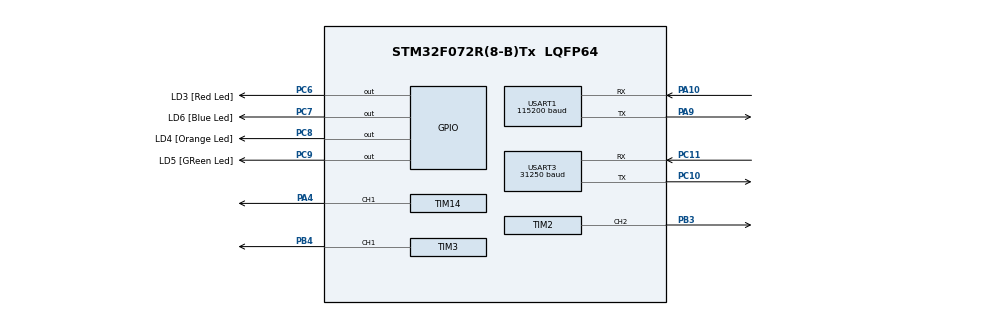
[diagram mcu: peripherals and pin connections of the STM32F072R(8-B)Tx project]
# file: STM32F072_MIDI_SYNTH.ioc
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FREERTOS.Queues01=uartMidiQueue,3,MIDI_UART_RxBuffer_t,0,Static,uartMidiQueueBuffer,uartMidiQueueControlBlock
FREERTOS.Tasks01=defaultTask,24,128,StartDefaultTask,Default,NULL,Dynamic,NULL,NULL;uartMidiTask,24,512,StartUartMidiTask,As external,NULL,Static,uartMidiTaskBuffer,uartMidiTaskControlBlock
Mcu.Family=STM32F0
Mcu.Name=STM32F072R(8-B)Tx
Mcu.Package=LQFP64
NVIC.TIM15_IRQn=true\:3\:0\:false\:false\:true\:false\:false\:true\:true
NVIC.TimeBase=TIM15_IRQn
NVIC.TimeBaseIP=TIM15
NVIC.USART3_4_IRQn=true\:3\:0\:false\:false\:true\:true\:true\:true\:true
PA10.Mode=Asynchronous
PA10.Signal=USART1_RX
PA13.Mode=Serial_Wire
PA13.Signal=SYS_SWDIO
PA14.Mode=Serial_Wire
PA14.Signal=SYS_SWCLK
PA4.GPIO_Speed=GPIO_SPEED_FREQ_HIGH
PA4.Signal=S_TIM14_CH1
PA9.Mode=Asynchronous
PA9.Signal=USART1_TX
PB3.GPIO_Speed=GPIO_SPEED_FREQ_HIGH
PB3.Signal=S_TIM2_CH2
PB4.GPIO_Speed=GPIO_SPEED_FREQ_HIGH
PB4.Signal=S_TIM3_CH1
PC10.Mode=Asynchronous
PC10.Signal=USART3_TX
PC11.Mode=Asynchronous
PC11.Signal=USART3_RX
PC6.GPIO_Label=LD3 [Red Led]
PC6.Signal=GPIO_Output
PC7.GPIO_Label=LD6 [Blue Led]
PC7.Signal=GPIO_Output
PC8.GPIO_Label=LD4 [Orange Led]
PC8.Signal=GPIO_Output
PC9.GPIO_Label=LD5 [GReen Led]
PC9.Signal=GPIO_Output
PF0-OSC_IN.Mode=HSE-External-Oscillator
PF0-OSC_IN.Signal=RCC_OSC_IN
PF1-OSC_OUT.Mode=HSE-External-Oscillator
PF1-OSC_OUT.Signal=RCC_OSC_OUT
ProjectManager.HeapSize=0x200
ProjectManager.StackSize=0x400
ProjectManager.TargetToolchain=STM32CubeIDE
RCC.AHBFreq_Value=48000000
RCC.APB1Freq_Value=48000000
RCC.APB1TimFreq_Value=48000000
RCC.HCLKFreq_Value=48000000
RCC.PLLMUL=RCC_PLL_MUL6
RCC.SYSCLKFreq_VALUE=48000000
RCC.SYSCLKSource=RCC_SYSCLKSOURCE_PLLCLK
SH.S_TIM14_CH1.0=TIM14_CH1,PWM Generation1 CH1
SH.S_TIM2_CH2.0=TIM2_CH2,PWM Generation2 CH2
SH.S_TIM3_CH1.0=TIM3_CH1,PWM Generation1 CH1
TIM14.Channel=TIM_CHANNEL_1
TIM14.Period=299
TIM14.Prescaler=159
TIM14.Pulse=149
TIM2.Channel-PWM\ Generation2\ CH2=TIM_CHANNEL_2
TIM2.Period=299
TIM2.Prescaler=159
TIM2.Pulse-PWM\ Generation2\ CH2=149
TIM3.Channel-PWM\ Generation1\ CH1=TIM_CHANNEL_1
TIM3.Period=299
TIM3.Prescaler=159
TIM3.Pulse-PWM\ Generation1\ CH1=149
USART1.BaudRate=115200
USART1.VirtualMode-Asynchronous=VM_ASYNC
USART3.BaudRate=31250
USART3.VirtualMode-Asynchronous=VM_ASYNC
VP_FREERTOS_VS_CMSIS_V2.Mode=CMSIS_V2
VP_SYS_VS_tim15.Mode=TIM15
VP_TIM14_VS_ClockSourceINT.Mode=Enable_Timer
VP_TIM2_VS_ClockSourceINT.Mode=Internal
VP_TIM3_VS_ClockSourceINT.Mode=Internal
board=STM32F072B-DISCO

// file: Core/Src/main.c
/* USER CODE BEGIN Header */
/**
  ******************************************************************************
  * @file           : main.c
  * @brief          : Main program body
  ******************************************************************************
  * @attention
  *
  * Copyright (c) 2023 STMicroelectronics.
  * All rights reserved.
  *
  * This software is licensed under terms that can be found in the LICENSE file
  * in the root directory of this software component.
  * If no LICENSE file comes with this software, it is provided AS-IS.
  *
  ******************************************************************************
  */
/* USER CODE END Header */
#include "main.h"
#include "cmsis_os.h"

/* USER CODE BEGIN Includes */
#include "string.h"
#include "usart3.h"
/* USER CODE END Includes */

typedef StaticTask_t osStaticThreadDef_t;
typedef StaticQueue_t osStaticMessageQDef_t;

/* Definitions for defaultTask */
osThreadId_t defaultTaskHandle;
const osThreadAttr_t defaultTask_attributes = {
  .name = "defaultTask",
  .stack_size = 128 * 4,
  .priority = (osPriority_t) osPriorityNormal,
};
/* Definitions for uartMidiTask */
osThreadId_t uartMidiTaskHandle;
uint32_t uartMidiTaskBuffer[ 512 ];
osStaticThreadDef_t uartMidiTaskControlBlock;
const osThreadAttr_t uartMidiTask_attributes = {
  .name = "uartMidiTask",
  .cb_mem = &uartMidiTaskControlBlock,
  .cb_size = sizeof(uartMidiTaskControlBlock),
  .stack_mem = &uartMidiTaskBuffer[0],
  .stack_size = sizeof(uartMidiTaskBuffer),
  .priority = (osPriority_t) osPriorityNormal,
};
/* Definitions for uartMidiQueue */
osMessageQueueId_t uartMidiQueueHandle;
uint8_t uartMidiQueueBuffer[ 3 * sizeof( MIDI_UART_RxBuffer_t ) ];
osStaticMessageQDef_t uartMidiQueueControlBlock;
const osMessageQueueAttr_t uartMidiQueue_attributes = {
  .name = "uartMidiQueue",
  .cb_mem = &uartMidiQueueControlBlock,
  .cb_size = sizeof(uartMidiQueueControlBlock),
  .mq_mem = &uartMidiQueueBuffer,
  .mq_size = sizeof(uartMidiQueueBuffer)
};
/* USER CODE BEGIN PV */
uint32_t sysTickCounter = 0;
/* USER CODE END PV */

void SystemClock_Config(void);
static void MX_GPIO_Init(void);
static void MX_TIM2_Init(void);
static void MX_TIM3_Init(void);
static void MX_TIM14_Init(void);
static void MX_USART1_UART_Init(void);
static void MX_USART3_UART_Init(void);
void StartDefaultTask(void *argument);
extern void StartUartMidiTask(void *argument);

/* USER CODE BEGIN PFP */
void delay(uint32_t delayMs);
void print(char* msg);
/* USER CODE END PFP */

int main(void)
{

  /* MCU Configuration--------------------------------------------------------*/

  /* Reset of all peripherals, Initializes the Flash interface and the Systick. */
  HAL_Init();

  /* Configure the system clock */
  SystemClock_Config();

  /* Initialize all configured peripherals */
  MX_GPIO_Init();
  MX_TIM2_Init();
  MX_TIM3_Init();
  MX_TIM14_Init();
  MX_USART1_UART_Init();
  MX_USART3_UART_Init();

  /* Init scheduler */
  osKernelInitialize();

  /* Create the queue(s) */
  /* creation of uartMidiQueue */
  uartMidiQueueHandle = osMessageQueueNew (3, sizeof(MIDI_UART_RxBuffer_t), &uartMidiQueue_attributes);

  /* Create the thread(s) */
  /* creation of defaultTask */
  defaultTaskHandle = osThreadNew(StartDefaultTask, NULL, &defaultTask_attributes);

  /* creation of uartMidiTask */
  uartMidiTaskHandle = osThreadNew(StartUartMidiTask, NULL, &uartMidiTask_attributes);

  /* Start scheduler */
  osKernelStart();
  /* We should never get here as control is now taken by the scheduler */
  /* Infinite loop */
  while (1)
  {

  }
}

void SystemClock_Config(void)
{
  LL_FLASH_SetLatency(LL_FLASH_LATENCY_1);
  while(LL_FLASH_GetLatency() != LL_FLASH_LATENCY_1)
  {
  }
  LL_RCC_HSI_Enable();

   /* Wait till HSI is ready */
  while(LL_RCC_HSI_IsReady() != 1)
  {

  }
  LL_RCC_HSI_SetCalibTrimming(16);
  LL_RCC_PLL_ConfigDomain_SYS(LL_RCC_PLLSOURCE_HSI, LL_RCC_PLL_MUL_6, LL_RCC_PREDIV_DIV_1);
  LL_RCC_PLL_Enable();

   /* Wait till PLL is ready */
  while(LL_RCC_PLL_IsReady() != 1)
  {

  }
  LL_RCC_SetAHBPrescaler(LL_RCC_SYSCLK_DIV_1);
  LL_RCC_SetAPB1Prescaler(LL_RCC_APB1_DIV_1);
  LL_RCC_SetSysClkSource(LL_RCC_SYS_CLKSOURCE_PLL);

   /* Wait till System clock is ready */
  while(LL_RCC_GetSysClkSource() != LL_RCC_SYS_CLKSOURCE_STATUS_PLL)
  {

  }
  LL_SetSystemCoreClock(48000000);

   /* Update the time base */
  if (HAL_InitTick (TICK_INT_PRIORITY) != HAL_OK)
  {
    Error_Handler();
  }
  LL_RCC_SetUSARTClockSource(LL_RCC_USART1_CLKSOURCE_PCLK1);
}

static void MX_TIM2_Init(void)
{

  LL_TIM_InitTypeDef TIM_InitStruct = {0};
  LL_TIM_OC_InitTypeDef TIM_OC_InitStruct = {0};

  LL_GPIO_InitTypeDef GPIO_InitStruct = {0};

  /* Peripheral clock enable */
  LL_APB1_GRP1_EnableClock(LL_APB1_GRP1_PERIPH_TIM2);

  TIM_InitStruct.Prescaler = 159;
  TIM_InitStruct.CounterMode = LL_TIM_COUNTERMODE_UP;
  TIM_InitStruct.Autoreload = 299;
  TIM_InitStruct.ClockDivision = LL_TIM_CLOCKDIVISION_DIV1;
  LL_TIM_Init(TIM2, &TIM_InitStruct);
  LL_TIM_DisableARRPreload(TIM2);
  LL_TIM_SetClockSource(TIM2, LL_TIM_CLOCKSOURCE_INTERNAL);
  LL_TIM_OC_EnablePreload(TIM2, LL_TIM_CHANNEL_CH2);
  TIM_OC_InitStruct.OCMode = LL_TIM_OCMODE_PWM1;
  TIM_OC_InitStruct.OCState = LL_TIM_OCSTATE_DISABLE;
  TIM_OC_InitStruct.OCNState = LL_TIM_OCSTATE_DISABLE;
  TIM_OC_InitStruct.CompareValue = 149;
  TIM_OC_InitStruct.OCPolarity = LL_TIM_OCPOLARITY_HIGH;
  LL_TIM_OC_Init(TIM2, LL_TIM_CHANNEL_CH2, &TIM_OC_InitStruct);
  LL_TIM_OC_DisableFast(TIM2, LL_TIM_CHANNEL_CH2);
  LL_TIM_SetTriggerOutput(TIM2, LL_TIM_TRGO_RESET);
  LL_TIM_DisableMasterSlaveMode(TIM2);
  LL_AHB1_GRP1_EnableClock(LL_AHB1_GRP1_PERIPH_GPIOB);
  /**TIM2 GPIO Configuration
  PB3   ------> TIM2_CH2
  */
  GPIO_InitStruct.Pin = LL_GPIO_PIN_3;
  GPIO_InitStruct.Mode = LL_GPIO_MODE_ALTERNATE;
  GPIO_InitStruct.Speed = LL_GPIO_SPEED_FREQ_HIGH;
  GPIO_InitStruct.OutputType = LL_GPIO_OUTPUT_PUSHPULL;
  GPIO_InitStruct.Pull = LL_GPIO_PULL_NO;
  GPIO_InitStruct.Alternate = LL_GPIO_AF_2;
  LL_GPIO_Init(GPIOB, &GPIO_InitStruct);

}

static void MX_TIM3_Init(void)
{

  LL_TIM_InitTypeDef TIM_InitStruct = {0};
  LL_TIM_OC_InitTypeDef TIM_OC_InitStruct = {0};

  LL_GPIO_InitTypeDef GPIO_InitStruct = {0};

  /* Peripheral clock enable */
  LL_APB1_GRP1_EnableClock(LL_APB1_GRP1_PERIPH_TIM3);

  TIM_InitStruct.Prescaler = 159;
  TIM_InitStruct.CounterMode = LL_TIM_COUNTERMODE_UP;
  TIM_InitStruct.Autoreload = 299;
  TIM_InitStruct.ClockDivision = LL_TIM_CLOCKDIVISION_DIV1;
  LL_TIM_Init(TIM3, &TIM_InitStruct);
  LL_TIM_DisableARRPreload(TIM3);
  LL_TIM_SetClockSource(TIM3, LL_TIM_CLOCKSOURCE_INTERNAL);
  LL_TIM_OC_EnablePreload(TIM3, LL_TIM_CHANNEL_CH1);
  TIM_OC_InitStruct.OCMode = LL_TIM_OCMODE_PWM1;
  TIM_OC_InitStruct.OCState = LL_TIM_OCSTATE_DISABLE;
  TIM_OC_InitStruct.OCNState = LL_TIM_OCSTATE_DISABLE;
  TIM_OC_InitStruct.CompareValue = 149;
  TIM_OC_InitStruct.OCPolarity = LL_TIM_OCPOLARITY_HIGH;
  LL_TIM_OC_Init(TIM3, LL_TIM_CHANNEL_CH1, &TIM_OC_InitStruct);
  LL_TIM_OC_DisableFast(TIM3, LL_TIM_CHANNEL_CH1);
  LL_TIM_SetTriggerOutput(TIM3, LL_TIM_TRGO_RESET);
  LL_TIM_DisableMasterSlaveMode(TIM3);
  LL_AHB1_GRP1_EnableClock(LL_AHB1_GRP1_PERIPH_GPIOB);
  /**TIM3 GPIO Configuration
  PB4   ------> TIM3_CH1
  */
  GPIO_InitStruct.Pin = LL_GPIO_PIN_4;
  GPIO_InitStruct.Mode = LL_GPIO_MODE_ALTERNATE;
  GPIO_InitStruct.Speed = LL_GPIO_SPEED_FREQ_HIGH;
  GPIO_InitStruct.OutputType = LL_GPIO_OUTPUT_PUSHPULL;
  GPIO_InitStruct.Pull = LL_GPIO_PULL_NO;
  GPIO_InitStruct.Alternate = LL_GPIO_AF_1;
  LL_GPIO_Init(GPIOB, &GPIO_InitStruct);

}

static void MX_TIM14_Init(void)
{

  LL_TIM_InitTypeDef TIM_InitStruct = {0};
  LL_TIM_OC_InitTypeDef TIM_OC_InitStruct = {0};

  LL_GPIO_InitTypeDef GPIO_InitStruct = {0};

  /* Peripheral clock enable */
  LL_APB1_GRP1_EnableClock(LL_APB1_GRP1_PERIPH_TIM14);

  TIM_InitStruct.Prescaler = 159;
  TIM_InitStruct.CounterMode = LL_TIM_COUNTERMODE_UP;
  TIM_InitStruct.Autoreload = 299;
  TIM_InitStruct.ClockDivision = LL_TIM_CLOCKDIVISION_DIV1;
  LL_TIM_Init(TIM14, &TIM_InitStruct);
  LL_TIM_DisableARRPreload(TIM14);
  LL_TIM_OC_EnablePreload(TIM14, LL_TIM_CHANNEL_CH1);
  TIM_OC_InitStruct.OCMode = LL_TIM_OCMODE_PWM1;
  TIM_OC_InitStruct.OCState = LL_TIM_OCSTATE_DISABLE;
  TIM_OC_InitStruct.OCNState = LL_TIM_OCSTATE_DISABLE;
  TIM_OC_InitStruct.CompareValue = 149;
  TIM_OC_InitStruct.OCPolarity = LL_TIM_OCPOLARITY_HIGH;
  LL_TIM_OC_Init(TIM14, LL_TIM_CHANNEL_CH1, &TIM_OC_InitStruct);
  LL_TIM_OC_DisableFast(TIM14, LL_TIM_CHANNEL_CH1);
  LL_AHB1_GRP1_EnableClock(LL_AHB1_GRP1_PERIPH_GPIOA);
  /**TIM14 GPIO Configuration
  PA4   ------> TIM14_CH1
  */
  GPIO_InitStruct.Pin = LL_GPIO_PIN_4;
  GPIO_InitStruct.Mode = LL_GPIO_MODE_ALTERNATE;
  GPIO_InitStruct.Speed = LL_GPIO_SPEED_FREQ_HIGH;
  GPIO_InitStruct.OutputType = LL_GPIO_OUTPUT_PUSHPULL;
  GPIO_InitStruct.Pull = LL_GPIO_PULL_NO;
  GPIO_InitStruct.Alternate = LL_GPIO_AF_4;
  LL_GPIO_Init(GPIOA, &GPIO_InitStruct);

}

static void MX_USART1_UART_Init(void)
{

  LL_USART_InitTypeDef USART_InitStruct = {0};

  LL_GPIO_InitTypeDef GPIO_InitStruct = {0};

  /* Peripheral clock enable */
  LL_APB1_GRP2_EnableClock(LL_APB1_GRP2_PERIPH_USART1);

  LL_AHB1_GRP1_EnableClock(LL_AHB1_GRP1_PERIPH_GPIOA);
  /**USART1 GPIO Configuration
  PA9   ------> USART1_TX
  PA10   ------> USART1_RX
  */
  GPIO_InitStruct.Pin = LL_GPIO_PIN_9;
  GPIO_InitStruct.Mode = LL_GPIO_MODE_ALTERNATE;
  GPIO_InitStruct.Speed = LL_GPIO_SPEED_FREQ_HIGH;
  GPIO_InitStruct.OutputType = LL_GPIO_OUTPUT_PUSHPULL;
  GPIO_InitStruct.Pull = LL_GPIO_PULL_NO;
  GPIO_InitStruct.Alternate = LL_GPIO_AF_1;
  LL_GPIO_Init(GPIOA, &GPIO_InitStruct);

  GPIO_InitStruct.Pin = LL_GPIO_PIN_10;
  GPIO_InitStruct.Mode = LL_GPIO_MODE_ALTERNATE;
  GPIO_InitStruct.Speed = LL_GPIO_SPEED_FREQ_HIGH;
  GPIO_InitStruct.OutputType = LL_GPIO_OUTPUT_PUSHPULL;
  GPIO_InitStruct.Pull = LL_GPIO_PULL_NO;
  GPIO_InitStruct.Alternate = LL_GPIO_AF_1;
  LL_GPIO_Init(GPIOA, &GPIO_InitStruct);

  USART_InitStruct.BaudRate = 115200;
  USART_InitStruct.DataWidth = LL_USART_DATAWIDTH_8B;
  USART_InitStruct.StopBits = LL_USART_STOPBITS_1;
  USART_InitStruct.Parity = LL_USART_PARITY_NONE;
  USART_InitStruct.TransferDirection = LL_USART_DIRECTION_TX_RX;
  USART_InitStruct.HardwareFlowControl = LL_USART_HWCONTROL_NONE;
  USART_InitStruct.OverSampling = LL_USART_OVERSAMPLING_16;
  LL_USART_Init(USART1, &USART_InitStruct);
  LL_USART_DisableIT_CTS(USART1);
  LL_USART_ConfigAsyncMode(USART1);
  LL_USART_Enable(USART1);

}

static void MX_USART3_UART_Init(void)
{

  LL_USART_InitTypeDef USART_InitStruct = {0};

  LL_GPIO_InitTypeDef GPIO_InitStruct = {0};

  /* Peripheral clock enable */
  LL_APB1_GRP1_EnableClock(LL_APB1_GRP1_PERIPH_USART3);

  LL_AHB1_GRP1_EnableClock(LL_AHB1_GRP1_PERIPH_GPIOC);
  /**USART3 GPIO Configuration
  PC10   ------> USART3_TX
  PC11   ------> USART3_RX
  */
  GPIO_InitStruct.Pin = LL_GPIO_PIN_10;
  GPIO_InitStruct.Mode = LL_GPIO_MODE_ALTERNATE;
  GPIO_InitStruct.Speed = LL_GPIO_SPEED_FREQ_HIGH;
  GPIO_InitStruct.OutputType = LL_GPIO_OUTPUT_PUSHPULL;
  GPIO_InitStruct.Pull = LL_GPIO_PULL_NO;
  GPIO_InitStruct.Alternate = LL_GPIO_AF_1;
  LL_GPIO_Init(GPIOC, &GPIO_InitStruct);

  GPIO_InitStruct.Pin = LL_GPIO_PIN_11;
  GPIO_InitStruct.Mode = LL_GPIO_MODE_ALTERNATE;
  GPIO_InitStruct.Speed = LL_GPIO_SPEED_FREQ_HIGH;
  GPIO_InitStruct.OutputType = LL_GPIO_OUTPUT_PUSHPULL;
  GPIO_InitStruct.Pull = LL_GPIO_PULL_NO;
  GPIO_InitStruct.Alternate = LL_GPIO_AF_1;
  LL_GPIO_Init(GPIOC, &GPIO_InitStruct);

  /* USART3 interrupt Init */
  NVIC_SetPriority(USART3_4_IRQn, 3);
  NVIC_EnableIRQ(USART3_4_IRQn);

  USART_InitStruct.BaudRate = 31250;
  USART_InitStruct.DataWidth = LL_USART_DATAWIDTH_8B;
  USART_InitStruct.StopBits = LL_USART_STOPBITS_1;
  USART_InitStruct.Parity = LL_USART_PARITY_NONE;
  USART_InitStruct.TransferDirection = LL_USART_DIRECTION_TX_RX;
  USART_InitStruct.HardwareFlowControl = LL_USART_HWCONTROL_NONE;
  USART_InitStruct.OverSampling = LL_USART_OVERSAMPLING_16;
  LL_USART_Init(USART3, &USART_InitStruct);
  LL_USART_DisableIT_CTS(USART3);
  LL_USART_ConfigAsyncMode(USART3);
  LL_USART_Enable(USART3);
  /* USER CODE BEGIN USART3_Init 2 */
  LL_USART_EnableIT_IDLE(USART3);
  /* USER CODE END USART3_Init 2 */

}

static void MX_GPIO_Init(void)
{
  LL_GPIO_InitTypeDef GPIO_InitStruct = {0};

  /* GPIO Ports Clock Enable */
  LL_AHB1_GRP1_EnableClock(LL_AHB1_GRP1_PERIPH_GPIOF);
  LL_AHB1_GRP1_EnableClock(LL_AHB1_GRP1_PERIPH_GPIOA);
  LL_AHB1_GRP1_EnableClock(LL_AHB1_GRP1_PERIPH_GPIOC);
  LL_AHB1_GRP1_EnableClock(LL_AHB1_GRP1_PERIPH_GPIOB);

  /**/
  LL_GPIO_ResetOutputPin(LD3_GPIO_Port, LD3_Pin);

  /**/
  LL_GPIO_ResetOutputPin(LD6_GPIO_Port, LD6_Pin);

  /**/
  LL_GPIO_ResetOutputPin(LD4_GPIO_Port, LD4_Pin);

  /**/
  LL_GPIO_ResetOutputPin(LD5_GPIO_Port, LD5_Pin);

  /**/
  GPIO_InitStruct.Pin = LD3_Pin;
  GPIO_InitStruct.Mode = LL_GPIO_MODE_OUTPUT;
  GPIO_InitStruct.Speed = LL_GPIO_SPEED_FREQ_LOW;
  GPIO_InitStruct.OutputType = LL_GPIO_OUTPUT_PUSHPULL;
  GPIO_InitStruct.Pull = LL_GPIO_PULL_NO;
  LL_GPIO_Init(LD3_GPIO_Port, &GPIO_InitStruct);

  /**/
  GPIO_InitStruct.Pin = LD6_Pin;
  GPIO_InitStruct.Mode = LL_GPIO_MODE_OUTPUT;
  GPIO_InitStruct.Speed = LL_GPIO_SPEED_FREQ_LOW;
  GPIO_InitStruct.OutputType = LL_GPIO_OUTPUT_PUSHPULL;
  GPIO_InitStruct.Pull = LL_GPIO_PULL_NO;
  LL_GPIO_Init(LD6_GPIO_Port, &GPIO_InitStruct);

  /**/
  GPIO_InitStruct.Pin = LD4_Pin;
  GPIO_InitStruct.Mode = LL_GPIO_MODE_OUTPUT;
  GPIO_InitStruct.Speed = LL_GPIO_SPEED_FREQ_LOW;
  GPIO_InitStruct.OutputType = LL_GPIO_OUTPUT_PUSHPULL;
  GPIO_InitStruct.Pull = LL_GPIO_PULL_NO;
  LL_GPIO_Init(LD4_GPIO_Port, &GPIO_InitStruct);

  /**/
  GPIO_InitStruct.Pin = LD5_Pin;
  GPIO_InitStruct.Mode = LL_GPIO_MODE_OUTPUT;
  GPIO_InitStruct.Speed = LL_GPIO_SPEED_FREQ_LOW;
  GPIO_InitStruct.OutputType = LL_GPIO_OUTPUT_PUSHPULL;
  GPIO_InitStruct.Pull = LL_GPIO_PULL_NO;
  LL_GPIO_Init(LD5_GPIO_Port, &GPIO_InitStruct);

}

/* USER CODE BEGIN 4 */
/**
 * @brief Wait in blocking mode for x ms.
 */
void delay(uint32_t delayMs)
{
  uint32_t starttime = sysTickCounter;

  while ((starttime + delayMs) > sysTickCounter)
  {
    /* wait */
  }
}

/**
 * @brief Print message on uart1.
 *        Only print up to 80 chars to uart1.
 */
void print(char* msg)
{
  assert_param(msg != NULL);

  uint8_t msgLen = strnlen(msg, 80);

  for (uint8_t i = 0; i < msgLen; i++)
  {
    LL_USART_TransmitData8(USART1, *(msg + i));
    while (0 == LL_USART_IsActiveFlag_TC(USART1))
    {
      /* wait till char transmission is completed */
    }
    LL_USART_ClearFlag_TC(USART1);
  }
}
/* USER CODE END 4 */

void StartDefaultTask(void *argument)
{
  /* USER CODE BEGIN 5 */
  /* Infinite loop */
  for(;;)
  {
    print("Hello World!\r\n");
    LL_GPIO_TogglePin(LD4_GPIO_Port, LD4_Pin);
    osDelay(1000);
  }
  /* USER CODE END 5 */
}

void HAL_TIM_PeriodElapsedCallback(TIM_HandleTypeDef *htim)
{
  if (htim->Instance == TIM15) {
    HAL_IncTick();
  }
}

void Error_Handler(void)
{
  /* USER CODE BEGIN Error_Handler_Debug */
  /* User can add his own implementation to report the HAL error return state */
  __disable_irq();
  while (1)
  {
    LL_GPIO_TogglePin(LD3_GPIO_Port, LD3_Pin);
    delay(200);
  }
  /* USER CODE END Error_Handler_Debug */
}

#ifdef  USE_FULL_ASSERT
/**
  * @brief  Reports the name of the source file and the source line number
  *         where the assert_param error has occurred.
  * @param  file: pointer to the source file name
  * @param  line: assert_param error line source number
  * @retval None
  */
void assert_failed(uint8_t *file, uint32_t line)
{
  /* USER CODE BEGIN 6 */
  /* User can add his own implementation to report the file name and line number,
     ex: printf("Wrong parameters value: file %s on line %d\r\n", file, line) */
  Error_Handler();
  /* USER CODE END 6 */
}
#endif /* USE_FULL_ASSERT */
